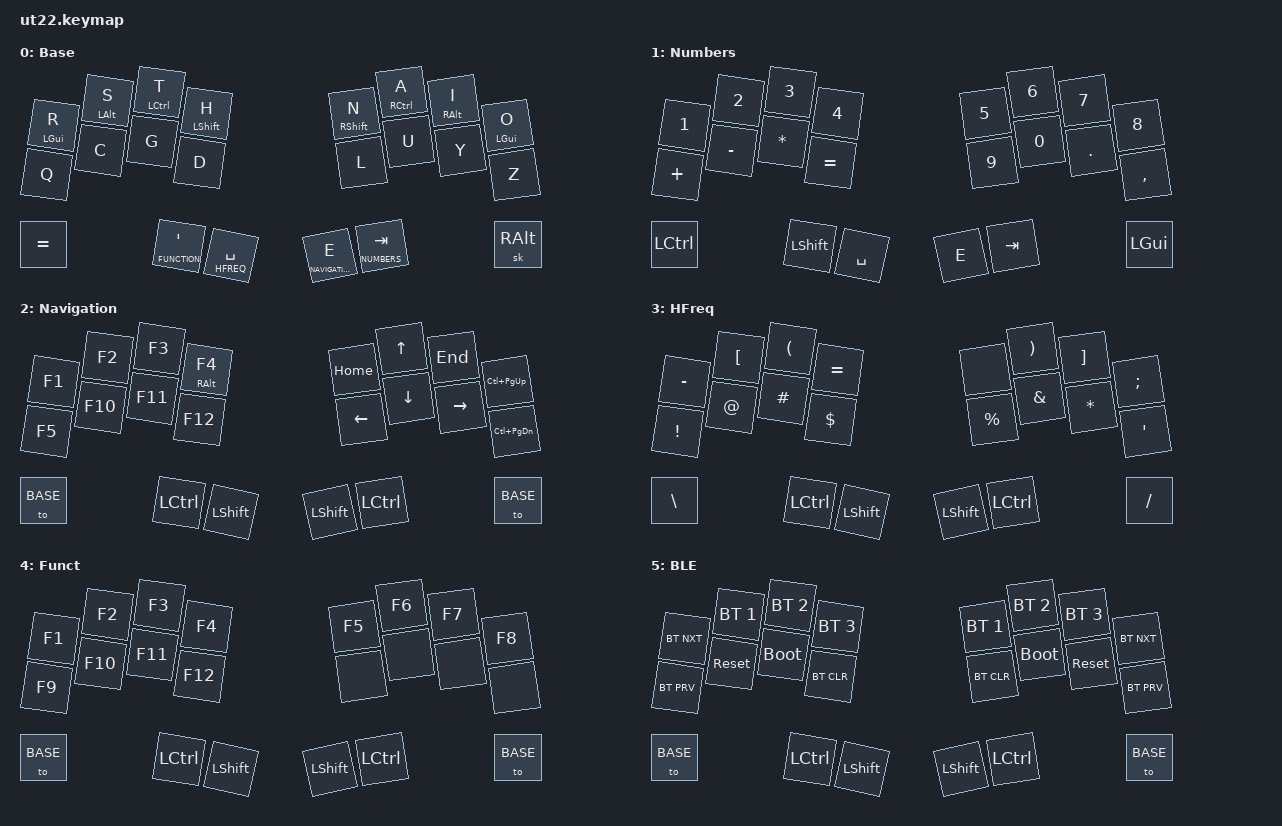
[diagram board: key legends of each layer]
/*
 * SPDX-License-Identifier: MIT
 */

#include <behaviors.dtsi>
#include <dt-bindings/zmk/keys.h>
#include <dt-bindings/zmk/bt.h>
#include <dt-bindings/zmk/outputs.h>


// LAYERS
// ====================================================
#define BASE    	0
#define NUMBERS 	1
#define NAVIGATION 	2
#define HFREQ 		3
#define FUNCTION    4
#define BLE		5


// Using layer taps on thumbs, having quick tap as well helps w/ repeating space/backspace
&lt { quick_tap_ms = <200>; };
// Sticky Layer Behavior - release sticky behavior after x ms
&sk { release-after-ms = <1800>; };
&mt { tapping-term-ms = <400>; };

// TAIPO DEFINITIONS (use in conjunction with TAIPO COMBOS)
// ====================================================
// ZMK forces you to define combos in terms of HW key positions
/*
	.-----------------------------------------------------------.
	|  0  |  1  |  2  |  3  |           |  4  |  5  |  6  |  7  |
	|  8  |  9  |  10 |  11 |           |  12 |  13 |  14 |  15 |
	|  16 |-----|  17 |  18 |           |  19 |  20 |-----|  21 |
	'-----'     '-----------------------------------'     '-----'
*/
// {Top,Bottom}{Left,Right}{Index,Middle,Ring,Pinky}

// LEFT SIDE
// Top
#define LTI 3  // Index
#define LTM 2  // Middle
#define LTR 1  // Ring
#define LTP 0  // Pinky
// Bottom
#define LBI 11 // Index
#define LBM 10 // Middle
#define LBR 9  // Ring
#define LBP 8  // Pinky

#define LIT 18 //Left Inner Thumb
#define LOT 17 //Left Outer Thumb

// RIGHT SIDE
// Top
#define RTI 4  // Index
#define RTM 5  // Middle
#define RTR 6  // Ring
#define RTP 7  // Pinky
// Bottom
#define RBI 12 // Index
#define RBM 13 // Middle
#define RBR 14 // Ring
#define RBP 15 // Pinky

#define RIT 19 //Right Inner Thumb
#define ROT 20 //Right Outer Thumb

// BEHAVIOR
// ====================================================

/{
	behaviors {
		// Enables holding the first mod-tap key
		// by performing a tap-release-hold sequence.
		// To use it: "&qt KEYCODE1 KEYCODE2"
		qt: quick_tap {
			compatible = "zmk,behavior-hold-tap";
			label = "QUICK_TAP";
			#binding-cells = <2>;
			flavor = "hold-preferred";
			tapping-term-ms = <200>;
			quick-tap-ms = <200>;
			bindings = <&kp>, <&kp>;
		};
	};


// COMBOS
// ====================================================
/*
	.-----------------------------------------------------------.
	|  0  |  1  |  2  |  3  |           |  4  |  5  |  6  |  7  |
	|  8  |  9  |  10 |  11 |           |  12 |  13 |  14 |  15 |
	|  16 |-----|  17 |  18 |           |  19 |  20 |-----|  21 |
	'-----'     '-----------------------------------'     '-----'
*/
// ARTSEY COMBOS
// name of the combo, output of the combo, input for the combo, applied on which layers
	#define COMBO(NAME, BINDINGS, KEYPOS, LAYER) \
	combo_##NAME { \
		timeout-ms = <120>; \
		bindings = <BINDINGS>; \
		key-positions = <KEYPOS>; \
		layers = <LAYER>; \
	};

   combos {
        compatible = "zmk,combos";
		// LEFT SIDE
		/***************
		* 2 key combos
		****************/

		//HORIZONTAL
		COMBO(L1,&kp W,LTP LTR, 0)				//W
		COMBO(L2,&kp M,LTR LTM, 0)				//M
		COMBO(L3,&kp B,LTM LTI, 0)				//B
		COMBO(L4,&kp P,LBM LBI, 0)				//P
		COMBO(L5,&kp F,LBR LBM, 0)				//F

		//VERTICAL
		COMBO(L6,&kp LBRC,LTR LBR, 0)			//{
		COMBO(L7,&kp LBKT,LTM LBM, 0)			//[
		COMBO(L8,&kp LPAR,LTI LBI, 0)			//(

		//OBLIQUE
		COMBO(L9,&kp K,LTM LBI, 0)				//K
		COMBO(L10,&kp MINUS,LTR LBM, 0)			//-
		COMBO(L11,&kp LT,LTR LBI, 0)			//<
		

		/***************
		* 3 key combos
		****************/
		COMBO(L12,&kp ESC,LTR LTM LTI  ,0 1 2 3 4 5)		//ESC

		/***************
		* 4 key combos
		****************/

		// RIGHT SIDE
		/***************
		* 2 key combos
		****************/
		//HORIZONTAL
		COMBO(R1,&kp DOT,RTP RTR, 0)			//.
		COMBO(R2,&kp COMMA,RTR RTM, 0)			//,
		COMBO(R3,&kp V,RTM RTI, 0)				//V
		COMBO(R4,&kp X,RBM RBI, 0)				//X
		COMBO(R5,&kp J,RBR RBM, 0)				//J

		//VERTICAL
		COMBO(R6,&kp RBRC,RTR RBR, 0)			//}
		COMBO(R7,&kp RBKT,RTM RBM, 0)			//]
		COMBO(R8,&kp RPAR,RTI RBI, 0)			//)

		//OBLIQUE
		COMBO(R9,&kp GT,RTR RBI, 0)				//>
		COMBO(R10,&kp SEMI,ROT RBM, 0)			//;
		COMBO(R11,&kp COLON,ROT RBI, 0)			//:

		/***************
		* 3 key combos
		****************/
		COMBO(R12,&kp BACKSPACE, RTI RTM RTR, 0 1 2 3 4 5) 	//BACKSPACE
		COMBO(R13,&kp ENTER, RBI RBM RBR, 0 1 2 3 4 5)		//ENTER
		/***************
		* 4 key combos
		****************/

   };

// KEYMAP
// ====================================================

/*  0 = Base
	.-----------------------------------------------------------.
	|  R  |  S  |  T  |  H  |	    	|  N  |  A  |  I  |  O  |
	|  Q  |  C  |  G  |  D  |           |  L  |  U  |  Y  |  Z  |
	|  =  |-----|  '  |SPACE|           |  E  |	TAB |-----|  /  |
	'-----'     '-----------------------------------'     '-----'
*/
	keymap {
		compatible = "zmk,keymap";

		// LAYER: BASE 0
		default_layer {
			label = "Base";
			bindings = <
			&mt LGUI R	&mt LALT S	&mt LCTRL T	&mt LSHIFT H	&mt RSHIFT N	&mt RCTRL A	&mt RALT I	&mt LGUI O
			&kp Q		&kp C       	&kp G		&kp D     	&kp L 		&kp U  		&kp Y       	&kp Z
			&kp EQUAL        &lt FUNCTION APOS   &lt HFREQ SPACE   &lt NAVIGATION E  &lt NUMBERS TAB	&sk RALT
			>;
		};

// -----------------------------------------------------------------------------

/*  1 = Numbers
	.-----------------------------------------------------------.
	|  1  |  2  |  3  |  4  |           |  5  |  6  |  7  |  8  |
	|  +  |  -  |  *  |  =  |           |  9  |  0  |  .  |  ,  |
	|LCTRL|-----|LSHFT|SPACE|           |ENTER|	TAB |-----| LALT|
	'-----'     '-----------------------------------'     '-----'
*/
        // LAYER: NUMBERS 1
		numbers_layer {
			label = "Numbers";
			bindings = <
			&kp N1      &kp N2      &kp N3      &kp N4         &kp N5     &kp N6      &kp N7      &kp N8
			&kp PLUS    &kp MINUS   &kp ASTRK   &kp EQUAL      &kp N9     &kp N0      &kp DOT     &kp COMMA
			&kp LCTRL               &kp LSHIFT  &kp SPACE      &kp E      &kp TAB                 &kp LGUI     
			>;
		};
// -----------------------------------------------------------------------------

/*  2 = Navigation
	.-----------------------------------------------------------.
	|  F1 |  F2 |  F3 |  F4 |           |HOME |  UP | END | PgU |
	|  F5 |  F10|  F11|  F12|           |  <- |DOWN |  -> | PgD |
	|  16 |-----|  17 |  18 |           |  19 |  20 |-----|  21 |
	'-----'     '-----------------------------------'     '-----'
*/
        // LAYER: NAVIGATION 2
		navigation_layer {
			label = "Navigation";
			bindings = <
			&kp F1     &kp F2       &kp F3      &mt RALT F4    &kp HOME        &kp UP      &kp END    &kp LC(PG_UP)
			&kp F5     &kp F10      &kp F11     &kp F12        &kp LEFT       &kp DOWN    &kp RIGHT   &kp LC(PG_DN)
			&to BASE                &kp LCTRL   &kp LSHIFT     &kp LSHIFT     &kp LCTRL               &to BASE     
			>;
		};
// -----------------------------------------------------------------------------

/*  3 = High Frequency
	.-----------------------------------------------------------.
	|  -  | {[  |  (  |  =  |           |     |  )  |  ]} |  ;  |
	|  !  |  @  |  #  |  $  |           |  %  |  &  |  *  |  '  |
	|  \  |-----|LCTRL|SHIFT|           |SHIFT|LCTRL|-----|  /  |
	'-----'     '-----------------------------------'     '-----'
*/
        // LAYER: HFREQ 3
		hfreq_layer {
			label = "HFreq";
			bindings = <
			&kp MINUS   &kp LBKT  &kp LPAR    &kp EQUAL    &none       &kp RPAR    &kp RBKT   &kp SEMI 
			&kp EXCL    &kp AT    &kp HASH    &kp DLLR     &kp PRCNT   &kp AMPS    &kp ASTRK  &kp APOS
			&kp BSLH              &kp LCTRL   &kp LSHIFT   &kp LSHIFT  &kp LCTRL              &kp FSLH     
			>;
		};
// -----------------------------------------------------------------------------

/*  4 = Function
	.-----------------------------------------------------------.
	|  0  |  1  |  2  |  3  |           |  4  |  5  |  6  |  7  |
	|  8  |  9  |  10 |  11 |           |  12 |  13 |  14 |  15 |
	|  16 |-----|  17 |  18 |           |  19 |  20 |-----|  21 |
	'-----'     '-----------------------------------'     '-----'
*/
        // LAYER: Function 4
		function_layer {
			label = "Funct";
			bindings = <
			&kp F1      &kp F2      &kp F3      &kp F4      &kp F5      &kp F6      &kp F7     &kp F8 
			&kp F9      &kp F10     &kp F11     &kp F12     &none       &none       &none      &none
			&to BASE              &kp LCTRL   &kp LSHIFT    &kp LSHIFT  &kp LCTRL              &to BASE     
			>;
		};
// -----------------------------------------------------------------------------

/*  5 = Bluetooth (NOT USED)
	.-----------------------------------------------------------.
	|  0  |  1  |  2  |  3  |           |  4  |  5  |  6  |  7  |
	|  8  |  9  |  10 |  11 |           |  12 |  13 |  14 |  15 |
	|  16 |-----|  17 |  18 |           |  19 |  20 |-----|  21 |
	'-----'     '-----------------------------------'     '-----'
*/
        // LAYER: BLUETOOTH 5
		ble_layer {
			label = "BLE";
			bindings = <
			&bt BT_NXT       &bt BT_SEL 1   &bt BT_SEL 2     &bt BT_SEL 3     &bt BT_SEL 1     &bt BT_SEL 2    &bt BT_SEL 3    &bt BT_NXT
			&bt BT_PRV       &sys_reset    	&bootloader	 &bt BT_CLR           &bt BT_CLR       &bootloader     &sys_reset      &bt BT_PRV 
			&to BASE                        &kp LCTRL   &kp LSHIFT            &kp LSHIFT       &kp LCTRL                       &to BASE     
			>;
		};
// -----------------------------------------------------------------------------

// -----------------------------------------------------------------------------
    };
};
